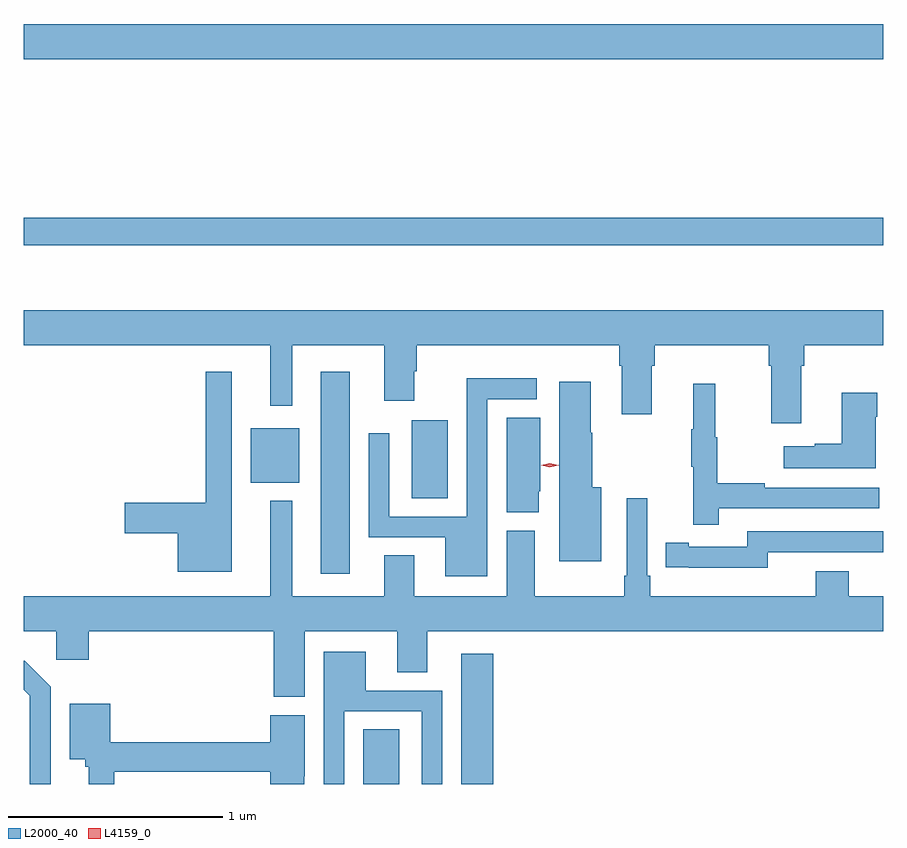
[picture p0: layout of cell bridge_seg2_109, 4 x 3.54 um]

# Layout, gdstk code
import gdstk
lib = gdstk.Library(unit=1e-6, precision=1e-09)
def R(c, l, rs):  # rectangles x0, y0, x1, y1
    for r in rs: c.add(gdstk.rectangle(r[:2], r[2:], *l))
def P(c, l, *ps):  # polygons
    for p in ps: c.add(gdstk.Polygon(p, *l))
L2000_40 = (2000, 40)
L4159_0 = (4159, 0)

bridge_seg2_109 = lib.new_cell('bridge_seg2_109')
R(bridge_seg2_109, L2000_40, [(556.724,630.942,556.891,631.196), (557.18,630.942,557.327,631.549), (556.526,631.92,556.66,632.86), (556.949,632.272,557.116,632.635), (556.199,632.345,556.426,632.599), (555.143,633.45,559.143,633.578), (555.143,634.316,559.143,634.48)])
P(bridge_seg2_109, L2000_40, [(558.763,632.888),(558.776,632.888),(558.776,632.984),(559.143,632.984),(559.143,633.148),(555.143,633.148),(555.143,632.984),(556.289,632.984),(556.289,632.703),(556.393,632.703),(556.393,632.984),(556.82,632.984),(556.82,632.727),(556.96,632.727),(556.96,632.864),(556.973,632.864),(556.973,632.984),(557.915,632.984),(557.915,632.888),(557.927,632.888),(557.927,632.664),(558.067,632.664),(558.067,632.888),(558.08,632.888),(558.08,632.984),(558.611,632.984),(558.611,632.888),(558.623,632.888),(558.623,632.622),(558.763,632.622)],
  [(556.111,632.86),(555.99,632.86),(555.99,632.252),(555.612,632.252),(555.612,632.11),(555.86,632.11),(555.86,631.931),(556.111,631.931)],
  [(557.301,632.733),(557.53,632.733),(557.53,632.83),(557.205,632.83),(557.205,632.187),(556.845,632.187),(556.845,632.575),(556.749,632.575),(556.749,632.091),(557.105,632.091),(557.105,631.91),(557.301,631.91)],
  [(557.83,632.323),(557.79,632.323),(557.79,632.576),(557.782,632.576),(557.782,632.815),(557.636,632.815),(557.636,631.979),(557.83,631.979)],
  [(558.377,632.226),(559.126,632.226),(559.126,632.322),(558.593,632.322),(558.593,632.342),(558.37,632.342),(558.37,632.556),(558.362,632.556),(558.362,632.806),(558.26,632.806),(558.26,632.593),(558.249,632.593),(558.249,632.419),(558.26,632.419),(558.26,632.148),(558.377,632.148)],
  [(559.108,632.651),(559.116,632.651),(559.116,632.764),(558.95,632.764),(558.95,632.525),(558.824,632.525),(558.824,632.515),(558.681,632.515),(558.681,632.411),(559.108,632.411)],
  [(557.539,632.304),(557.548,632.304),(557.548,632.648),(557.39,632.648),(557.39,632.206),(557.539,632.206)],
  [(556.45,631.652),(556.88,631.652),(556.88,631.462),(557.02,631.462),(557.02,631.652),(559.143,631.652),(559.143,631.816),(558.983,631.816),(558.983,631.933),(558.83,631.933),(558.83,631.816),(558.059,631.816),(558.059,631.912),(558.045,631.912),(558.045,632.272),(557.949,632.272),(557.949,631.912),(557.937,631.912),(557.937,631.816),(557.521,631.816),(557.521,632.121),(557.39,632.121),(557.39,631.816),(556.96,631.816),(556.96,632.006),(556.82,632.006),(556.82,631.816),(556.393,631.816),(556.393,632.26),(556.289,632.26),(556.289,631.816),(555.143,631.816),(555.143,631.652),(555.294,631.652),(555.294,631.521),(555.446,631.521),(555.446,631.652),(556.307,631.652),(556.307,631.348),(556.45,631.348)],
  [(558.606,632.022),(559.066,632.022),(559.066,632.021),(559.143,632.021),(559.143,632.118),(558.51,632.118),(558.51,632.046),(558.238,632.046),(558.238,632.066),(558.13,632.066),(558.13,631.95),(558.238,631.95),(558.238,631.949),(558.606,631.949)],
  [(556.635,631.281),(556.995,631.281),(556.995,630.942),(557.091,630.942),(557.091,631.377),(556.735,631.377),(556.735,631.558),(556.539,631.558),(556.539,630.942),(556.635,630.942)],
  [(555.267,631.395),(555.146,631.516),(555.143,631.516),(555.143,631.381),(555.171,631.353),(555.171,630.942),(555.267,630.942)],
  [(555.563,631),(556.289,631),(556.289,630.942),(556.449,630.942),(556.449,630.979),(556.45,630.979),(556.45,631.263),(556.289,631.263),(556.289,631.136),(555.544,631.136),(555.544,631.315),(555.356,631.315),(555.356,631.058),(555.428,631.058),(555.428,631.023),(555.446,631.023),(555.446,630.942),(555.563,630.942)])
P(bridge_seg2_109, L4159_0, [(557.592,632.416),(557.552,632.426),(557.552,632.427),(557.552,632.427),(557.592,632.436),(557.632,632.427),(557.632,632.426),(557.632,632.426)])

lib.write_gds('bridge_seg2_109.gds')
